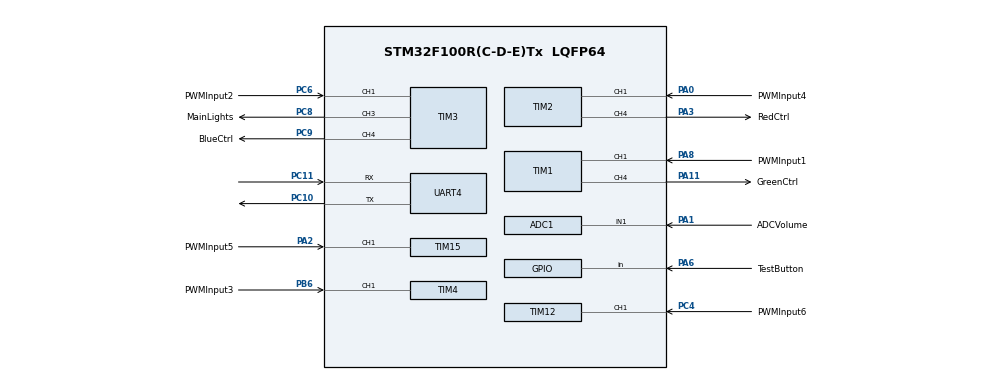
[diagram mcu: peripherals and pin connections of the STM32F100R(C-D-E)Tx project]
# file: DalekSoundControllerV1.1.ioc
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ADC1.Channel-0\#ChannelRegularConversion=ADC_CHANNEL_1
ADC1.NbrOfConversionFlag=1
ADC1.Rank-0\#ChannelRegularConversion=1
ADC1.SamplingTime-0\#ChannelRegularConversion=ADC_SAMPLETIME_1CYCLE_5
ADC1.master=1
Mcu.Family=STM32F1
Mcu.Name=STM32F100R(C-D-E)Tx
Mcu.Package=LQFP64
NVIC.PriorityGroup=NVIC_PRIORITYGROUP_4
NVIC.TIM1_CC_IRQn=true\:0\:0\:false\:false\:true\:true\:true\:true
PA0-WKUP.GPIO_Label=PWMInput4
PA0-WKUP.Signal=S_TIM2_CH1_ETR
PA1.GPIO_Label=ADCVolume
PA1.Signal=ADCx_IN1
PA11.GPIO_Label=GreenCtrl
PA11.Signal=S_TIM1_CH4
PA13.Mode=JTAG_5_pins
PA13.Signal=SYS_JTMS-SWDIO
PA14.Mode=JTAG_5_pins
PA14.Signal=SYS_JTCK-SWCLK
PA15.Mode=JTAG_5_pins
PA15.Signal=SYS_JTDI
PA2.GPIO_Label=PWMInput5
PA2.Signal=S_TIM15_CH1
PA3.GPIO_Label=RedCtrl
PA3.Signal=S_TIM2_CH4
PA6.GPIO_Label=TestButton
PA6.GPIO_PuPd=GPIO_PULLDOWN
PA6.Signal=GPIO_Input
PA8.GPIO_Label=PWMInput1
PA8.Signal=S_TIM1_CH1
PB3.Mode=JTAG_5_pins
PB3.Signal=SYS_JTDO-TRACESWO
PB4.Mode=JTAG_5_pins
PB4.Signal=SYS_NJTRST
PB6.GPIO_Label=PWMInput3
PB6.Signal=S_TIM4_CH1
PC10.Mode=Asynchronous
PC10.Signal=UART4_TX
PC11.Mode=Asynchronous
PC11.Signal=UART4_RX
PC4.GPIO_Label=PWMInput6
PC4.Signal=S_TIM12_CH1
PC6.GPIO_Label=PWMInput2
PC6.Signal=S_TIM3_CH1
PC8.GPIO_Label=MainLights
PC8.Signal=S_TIM3_CH3
PC9.GPIO_Label=BlueCtrl
PC9.Signal=S_TIM3_CH4
ProjectManager.HeapSize=0x200
ProjectManager.StackSize=0x400
ProjectManager.TargetToolchain=STM32CubeIDE
RCC.APB1Freq_Value=8000000
RCC.APB2Freq_Value=8000000
SH.ADCx_IN1.0=ADC1_IN1,IN1
SH.S_TIM12_CH1.0=TIM12_CH1,PWM_Input_1
SH.S_TIM15_CH1.0=TIM15_CH1,PWM_Input_1
SH.S_TIM1_CH1.0=TIM1_CH1,PWM_Input_1
SH.S_TIM1_CH4.0=TIM1_CH4,PWM Generation4 CH4
SH.S_TIM2_CH1_ETR.0=TIM2_CH1,PWM_Input_1
SH.S_TIM2_CH4.0=TIM2_CH4,PWM Generation4 CH4
SH.S_TIM3_CH1.0=TIM3_CH1,PWM_Input_1
SH.S_TIM3_CH3.0=TIM3_CH3,PWM Generation3 CH3
SH.S_TIM3_CH4.0=TIM3_CH4,PWM Generation4 CH4
SH.S_TIM4_CH1.0=TIM4_CH1,PWM_Input_1
TIM1.Channel-PWM\ Generation4\ CH4=TIM_CHANNEL_4
TIM2.Channel-PWM\ Generation4\ CH4=TIM_CHANNEL_4
TIM3.Channel-PWM\ Generation3\ CH3=TIM_CHANNEL_3
TIM3.Channel-PWM\ Generation4\ CH4=TIM_CHANNEL_4
UART4.VirtualMode=Asynchronous
VP_TIM12_VS_ClockSourceINT.Mode=Internal
VP_TIM15_VS_ClockSourceINT.Mode=Internal
VP_TIM1_VS_ClockSourceINT.Mode=Internal
VP_TIM2_VS_ClockSourceINT.Mode=Internal
VP_TIM3_VS_ClockSourceINT.Mode=Internal
VP_TIM4_VS_ClockSourceINT.Mode=Internal
board=custom

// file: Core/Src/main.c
/* USER CODE BEGIN Header */
/**
  ******************************************************************************
  * @file           : main.c
  * @brief          : Main program body
  ******************************************************************************
  * @attention
  *
  * Copyright (c) 2025 STMicroelectronics.
  * All rights reserved.
  *
  * This software is licensed under terms that can be found in the LICENSE file
  * in the root directory of this software component.
  * If no LICENSE file comes with this software, it is provided AS-IS.
  *
  ******************************************************************************
  */
/* USER CODE END Header */
#include "main.h"

/* USER CODE BEGIN Includes */
#include "DFPlayerCommands.h"
/* USER CODE END Includes */

ADC_HandleTypeDef hadc1;

TIM_HandleTypeDef htim1;
TIM_HandleTypeDef htim2;
TIM_HandleTypeDef htim3;
TIM_HandleTypeDef htim4;
TIM_HandleTypeDef htim12;
TIM_HandleTypeDef htim15;

UART_HandleTypeDef huart4;

void SystemClock_Config(void);
static void MX_GPIO_Init(void);
static void MX_ADC1_Init(void);
static void MX_TIM1_Init(void);
static void MX_TIM2_Init(void);
static void MX_TIM4_Init(void);
static void MX_TIM12_Init(void);
static void MX_TIM15_Init(void);
static void MX_UART4_Init(void);
static void MX_TIM3_Init(void);

int main(void)
{

  /* MCU Configuration--------------------------------------------------------*/

  /* Reset of all peripherals, Initializes the Flash interface and the Systick. */
  HAL_Init();

  /* Configure the system clock */
  SystemClock_Config();

  /* Initialize all configured peripherals */
  MX_GPIO_Init();
  MX_ADC1_Init();
  MX_TIM1_Init();
  MX_TIM2_Init();
  MX_TIM4_Init();
  MX_TIM12_Init();
  MX_TIM15_Init();
  MX_UART4_Init();
  MX_TIM3_Init();
  /* USER CODE BEGIN 2 */
  MiniPlayerInit();
  UARTCommand(PlaybackType, 0, 1);

  TIM1->DIER |= TIM_DIER_CC1IE | TIM_DIER_CC2IE;

  int Period;
  int OnTime;

  uint8_t DWSongDutyCycle = 7;

  int DWSongFlag = 1;
  /* USER CODE END 2 */

  /* Infinite loop */
  while (1)
  {

    /* USER CODE BEGIN 3 */
	while(!(TIM1->SR & TIM_SR_CC2IF));
	OnTime = TIM1->CCR2; //Capture Clock Count of On Time

	while(!(TIM1->SR & TIM_SR_CC1IF));
	Period = TIM1->CCR1; //Capture Clock Count of Period

	if(((OnTime * 100 / Period) > DWSongDutyCycle) && (DWSongFlag == 1))
	{
		UARTCommand(PlayTrack, 0, 0);
		UARTCommand(FolderLoop, 0, 1);
		DWSongFlag = 0;
	}
	else if(((OnTime * 100 / Period) > DWSongDutyCycle) && (DWSongFlag == 0));

	else{
		UARTCommand(PauseTrack, 0, 0);
		DWSongFlag = 1;
	}
  }
  /* USER CODE END 3 */
}

void SystemClock_Config(void)
{
  RCC_OscInitTypeDef RCC_OscInitStruct = {0};
  RCC_ClkInitTypeDef RCC_ClkInitStruct = {0};
  RCC_PeriphCLKInitTypeDef PeriphClkInit = {0};

  /** Initializes the RCC Oscillators according to the specified parameters
  * in the RCC_OscInitTypeDef structure.
  */
  RCC_OscInitStruct.OscillatorType = RCC_OSCILLATORTYPE_HSI;
  RCC_OscInitStruct.HSIState = RCC_HSI_ON;
  RCC_OscInitStruct.HSICalibrationValue = RCC_HSICALIBRATION_DEFAULT;
  RCC_OscInitStruct.PLL.PLLState = RCC_PLL_NONE;
  if (HAL_RCC_OscConfig(&RCC_OscInitStruct) != HAL_OK)
  {
    Error_Handler();
  }

  /** Initializes the CPU, AHB and APB buses clocks
  */
  RCC_ClkInitStruct.ClockType = RCC_CLOCKTYPE_HCLK|RCC_CLOCKTYPE_SYSCLK
                              |RCC_CLOCKTYPE_PCLK1|RCC_CLOCKTYPE_PCLK2;
  RCC_ClkInitStruct.SYSCLKSource = RCC_SYSCLKSOURCE_HSI;
  RCC_ClkInitStruct.AHBCLKDivider = RCC_SYSCLK_DIV1;
  RCC_ClkInitStruct.APB1CLKDivider = RCC_HCLK_DIV1;
  RCC_ClkInitStruct.APB2CLKDivider = RCC_HCLK_DIV1;

  if (HAL_RCC_ClockConfig(&RCC_ClkInitStruct, FLASH_LATENCY_0) != HAL_OK)
  {
    Error_Handler();
  }
  PeriphClkInit.PeriphClockSelection = RCC_PERIPHCLK_ADC;
  PeriphClkInit.AdcClockSelection = RCC_ADCPCLK2_DIV2;
  if (HAL_RCCEx_PeriphCLKConfig(&PeriphClkInit) != HAL_OK)
  {
    Error_Handler();
  }
}

static void MX_ADC1_Init(void)
{

  ADC_ChannelConfTypeDef sConfig = {0};

  /** Common config
  */
  hadc1.Instance = ADC1;
  hadc1.Init.ScanConvMode = ADC_SCAN_DISABLE;
  hadc1.Init.ContinuousConvMode = DISABLE;
  hadc1.Init.DiscontinuousConvMode = DISABLE;
  hadc1.Init.ExternalTrigConv = ADC_SOFTWARE_START;
  hadc1.Init.DataAlign = ADC_DATAALIGN_RIGHT;
  hadc1.Init.NbrOfConversion = 1;
  if (HAL_ADC_Init(&hadc1) != HAL_OK)
  {
    Error_Handler();
  }

  /** Configure Regular Channel
  */
  sConfig.Channel = ADC_CHANNEL_1;
  sConfig.Rank = ADC_REGULAR_RANK_1;
  sConfig.SamplingTime = ADC_SAMPLETIME_1CYCLE_5;
  if (HAL_ADC_ConfigChannel(&hadc1, &sConfig) != HAL_OK)
  {
    Error_Handler();
  }

}

static void MX_TIM1_Init(void)
{

  TIM_ClockConfigTypeDef sClockSourceConfig = {0};
  TIM_SlaveConfigTypeDef sSlaveConfig = {0};
  TIM_IC_InitTypeDef sConfigIC = {0};
  TIM_MasterConfigTypeDef sMasterConfig = {0};
  TIM_OC_InitTypeDef sConfigOC = {0};
  TIM_BreakDeadTimeConfigTypeDef sBreakDeadTimeConfig = {0};

  htim1.Instance = TIM1;
  htim1.Init.Prescaler = 0;
  htim1.Init.CounterMode = TIM_COUNTERMODE_UP;
  htim1.Init.Period = 65535;
  htim1.Init.ClockDivision = TIM_CLOCKDIVISION_DIV1;
  htim1.Init.RepetitionCounter = 0;
  htim1.Init.AutoReloadPreload = TIM_AUTORELOAD_PRELOAD_DISABLE;
  if (HAL_TIM_Base_Init(&htim1) != HAL_OK)
  {
    Error_Handler();
  }
  sClockSourceConfig.ClockSource = TIM_CLOCKSOURCE_INTERNAL;
  if (HAL_TIM_ConfigClockSource(&htim1, &sClockSourceConfig) != HAL_OK)
  {
    Error_Handler();
  }
  if (HAL_TIM_PWM_Init(&htim1) != HAL_OK)
  {
    Error_Handler();
  }
  if (HAL_TIM_IC_Init(&htim1) != HAL_OK)
  {
    Error_Handler();
  }
  sSlaveConfig.SlaveMode = TIM_SLAVEMODE_RESET;
  sSlaveConfig.InputTrigger = TIM_TS_TI1FP1;
  sSlaveConfig.TriggerPolarity = TIM_INPUTCHANNELPOLARITY_RISING;
  sSlaveConfig.TriggerPrescaler = TIM_ICPSC_DIV1;
  sSlaveConfig.TriggerFilter = 0;
  if (HAL_TIM_SlaveConfigSynchro(&htim1, &sSlaveConfig) != HAL_OK)
  {
    Error_Handler();
  }
  sConfigIC.ICPolarity = TIM_INPUTCHANNELPOLARITY_RISING;
  sConfigIC.ICSelection = TIM_ICSELECTION_DIRECTTI;
  sConfigIC.ICPrescaler = TIM_ICPSC_DIV1;
  sConfigIC.ICFilter = 0;
  if (HAL_TIM_IC_ConfigChannel(&htim1, &sConfigIC, TIM_CHANNEL_1) != HAL_OK)
  {
    Error_Handler();
  }
  sConfigIC.ICPolarity = TIM_INPUTCHANNELPOLARITY_FALLING;
  sConfigIC.ICSelection = TIM_ICSELECTION_INDIRECTTI;
  if (HAL_TIM_IC_ConfigChannel(&htim1, &sConfigIC, TIM_CHANNEL_2) != HAL_OK)
  {
    Error_Handler();
  }
  sMasterConfig.MasterOutputTrigger = TIM_TRGO_RESET;
  sMasterConfig.MasterSlaveMode = TIM_MASTERSLAVEMODE_DISABLE;
  if (HAL_TIMEx_MasterConfigSynchronization(&htim1, &sMasterConfig) != HAL_OK)
  {
    Error_Handler();
  }
  sConfigOC.OCMode = TIM_OCMODE_PWM1;
  sConfigOC.Pulse = 0;
  sConfigOC.OCPolarity = TIM_OCPOLARITY_HIGH;
  sConfigOC.OCFastMode = TIM_OCFAST_DISABLE;
  sConfigOC.OCIdleState = TIM_OCIDLESTATE_RESET;
  sConfigOC.OCNIdleState = TIM_OCNIDLESTATE_RESET;
  if (HAL_TIM_PWM_ConfigChannel(&htim1, &sConfigOC, TIM_CHANNEL_4) != HAL_OK)
  {
    Error_Handler();
  }
  sBreakDeadTimeConfig.OffStateRunMode = TIM_OSSR_DISABLE;
  sBreakDeadTimeConfig.OffStateIDLEMode = TIM_OSSI_DISABLE;
  sBreakDeadTimeConfig.LockLevel = TIM_LOCKLEVEL_OFF;
  sBreakDeadTimeConfig.DeadTime = 0;
  sBreakDeadTimeConfig.BreakState = TIM_BREAK_DISABLE;
  sBreakDeadTimeConfig.BreakPolarity = TIM_BREAKPOLARITY_HIGH;
  sBreakDeadTimeConfig.AutomaticOutput = TIM_AUTOMATICOUTPUT_DISABLE;
  if (HAL_TIMEx_ConfigBreakDeadTime(&htim1, &sBreakDeadTimeConfig) != HAL_OK)
  {
    Error_Handler();
  }
  HAL_TIM_MspPostInit(&htim1);

}

static void MX_TIM2_Init(void)
{

  TIM_ClockConfigTypeDef sClockSourceConfig = {0};
  TIM_SlaveConfigTypeDef sSlaveConfig = {0};
  TIM_IC_InitTypeDef sConfigIC = {0};
  TIM_MasterConfigTypeDef sMasterConfig = {0};
  TIM_OC_InitTypeDef sConfigOC = {0};

  htim2.Instance = TIM2;
  htim2.Init.Prescaler = 0;
  htim2.Init.CounterMode = TIM_COUNTERMODE_UP;
  htim2.Init.Period = 65535;
  htim2.Init.ClockDivision = TIM_CLOCKDIVISION_DIV1;
  htim2.Init.AutoReloadPreload = TIM_AUTORELOAD_PRELOAD_DISABLE;
  if (HAL_TIM_Base_Init(&htim2) != HAL_OK)
  {
    Error_Handler();
  }
  sClockSourceConfig.ClockSource = TIM_CLOCKSOURCE_INTERNAL;
  if (HAL_TIM_ConfigClockSource(&htim2, &sClockSourceConfig) != HAL_OK)
  {
    Error_Handler();
  }
  if (HAL_TIM_PWM_Init(&htim2) != HAL_OK)
  {
    Error_Handler();
  }
  if (HAL_TIM_IC_Init(&htim2) != HAL_OK)
  {
    Error_Handler();
  }
  sSlaveConfig.SlaveMode = TIM_SLAVEMODE_RESET;
  sSlaveConfig.InputTrigger = TIM_TS_TI1FP1;
  sSlaveConfig.TriggerPolarity = TIM_INPUTCHANNELPOLARITY_RISING;
  sSlaveConfig.TriggerPrescaler = TIM_ICPSC_DIV1;
  sSlaveConfig.TriggerFilter = 0;
  if (HAL_TIM_SlaveConfigSynchro(&htim2, &sSlaveConfig) != HAL_OK)
  {
    Error_Handler();
  }
  sConfigIC.ICPolarity = TIM_INPUTCHANNELPOLARITY_RISING;
  sConfigIC.ICSelection = TIM_ICSELECTION_DIRECTTI;
  sConfigIC.ICPrescaler = TIM_ICPSC_DIV1;
  sConfigIC.ICFilter = 0;
  if (HAL_TIM_IC_ConfigChannel(&htim2, &sConfigIC, TIM_CHANNEL_1) != HAL_OK)
  {
    Error_Handler();
  }
  sConfigIC.ICPolarity = TIM_INPUTCHANNELPOLARITY_FALLING;
  sConfigIC.ICSelection = TIM_ICSELECTION_INDIRECTTI;
  if (HAL_TIM_IC_ConfigChannel(&htim2, &sConfigIC, TIM_CHANNEL_2) != HAL_OK)
  {
    Error_Handler();
  }
  sMasterConfig.MasterOutputTrigger = TIM_TRGO_RESET;
  sMasterConfig.MasterSlaveMode = TIM_MASTERSLAVEMODE_DISABLE;
  if (HAL_TIMEx_MasterConfigSynchronization(&htim2, &sMasterConfig) != HAL_OK)
  {
    Error_Handler();
  }
  sConfigOC.OCMode = TIM_OCMODE_PWM1;
  sConfigOC.Pulse = 0;
  sConfigOC.OCPolarity = TIM_OCPOLARITY_HIGH;
  sConfigOC.OCFastMode = TIM_OCFAST_DISABLE;
  if (HAL_TIM_PWM_ConfigChannel(&htim2, &sConfigOC, TIM_CHANNEL_4) != HAL_OK)
  {
    Error_Handler();
  }
  HAL_TIM_MspPostInit(&htim2);

}

static void MX_TIM3_Init(void)
{

  TIM_ClockConfigTypeDef sClockSourceConfig = {0};
  TIM_SlaveConfigTypeDef sSlaveConfig = {0};
  TIM_IC_InitTypeDef sConfigIC = {0};
  TIM_MasterConfigTypeDef sMasterConfig = {0};
  TIM_OC_InitTypeDef sConfigOC = {0};

  htim3.Instance = TIM3;
  htim3.Init.Prescaler = 0;
  htim3.Init.CounterMode = TIM_COUNTERMODE_UP;
  htim3.Init.Period = 65535;
  htim3.Init.ClockDivision = TIM_CLOCKDIVISION_DIV1;
  htim3.Init.AutoReloadPreload = TIM_AUTORELOAD_PRELOAD_DISABLE;
  if (HAL_TIM_Base_Init(&htim3) != HAL_OK)
  {
    Error_Handler();
  }
  sClockSourceConfig.ClockSource = TIM_CLOCKSOURCE_INTERNAL;
  if (HAL_TIM_ConfigClockSource(&htim3, &sClockSourceConfig) != HAL_OK)
  {
    Error_Handler();
  }
  if (HAL_TIM_PWM_Init(&htim3) != HAL_OK)
  {
    Error_Handler();
  }
  if (HAL_TIM_IC_Init(&htim3) != HAL_OK)
  {
    Error_Handler();
  }
  sSlaveConfig.SlaveMode = TIM_SLAVEMODE_RESET;
  sSlaveConfig.InputTrigger = TIM_TS_TI1FP1;
  sSlaveConfig.TriggerPolarity = TIM_INPUTCHANNELPOLARITY_RISING;
  sSlaveConfig.TriggerPrescaler = TIM_ICPSC_DIV1;
  sSlaveConfig.TriggerFilter = 0;
  if (HAL_TIM_SlaveConfigSynchro(&htim3, &sSlaveConfig) != HAL_OK)
  {
    Error_Handler();
  }
  sConfigIC.ICPolarity = TIM_INPUTCHANNELPOLARITY_RISING;
  sConfigIC.ICSelection = TIM_ICSELECTION_DIRECTTI;
  sConfigIC.ICPrescaler = TIM_ICPSC_DIV1;
  sConfigIC.ICFilter = 0;
  if (HAL_TIM_IC_ConfigChannel(&htim3, &sConfigIC, TIM_CHANNEL_1) != HAL_OK)
  {
    Error_Handler();
  }
  sConfigIC.ICPolarity = TIM_INPUTCHANNELPOLARITY_FALLING;
  sConfigIC.ICSelection = TIM_ICSELECTION_INDIRECTTI;
  if (HAL_TIM_IC_ConfigChannel(&htim3, &sConfigIC, TIM_CHANNEL_2) != HAL_OK)
  {
    Error_Handler();
  }
  sMasterConfig.MasterOutputTrigger = TIM_TRGO_RESET;
  sMasterConfig.MasterSlaveMode = TIM_MASTERSLAVEMODE_DISABLE;
  if (HAL_TIMEx_MasterConfigSynchronization(&htim3, &sMasterConfig) != HAL_OK)
  {
    Error_Handler();
  }
  sConfigOC.OCMode = TIM_OCMODE_PWM1;
  sConfigOC.Pulse = 0;
  sConfigOC.OCPolarity = TIM_OCPOLARITY_HIGH;
  sConfigOC.OCFastMode = TIM_OCFAST_DISABLE;
  if (HAL_TIM_PWM_ConfigChannel(&htim3, &sConfigOC, TIM_CHANNEL_3) != HAL_OK)
  {
    Error_Handler();
  }
  if (HAL_TIM_PWM_ConfigChannel(&htim3, &sConfigOC, TIM_CHANNEL_4) != HAL_OK)
  {
    Error_Handler();
  }
  HAL_TIM_MspPostInit(&htim3);

}

static void MX_TIM4_Init(void)
{

  TIM_ClockConfigTypeDef sClockSourceConfig = {0};
  TIM_SlaveConfigTypeDef sSlaveConfig = {0};
  TIM_IC_InitTypeDef sConfigIC = {0};
  TIM_MasterConfigTypeDef sMasterConfig = {0};

  htim4.Instance = TIM4;
  htim4.Init.Prescaler = 0;
  htim4.Init.CounterMode = TIM_COUNTERMODE_UP;
  htim4.Init.Period = 65535;
  htim4.Init.ClockDivision = TIM_CLOCKDIVISION_DIV1;
  htim4.Init.AutoReloadPreload = TIM_AUTORELOAD_PRELOAD_DISABLE;
  if (HAL_TIM_Base_Init(&htim4) != HAL_OK)
  {
    Error_Handler();
  }
  sClockSourceConfig.ClockSource = TIM_CLOCKSOURCE_INTERNAL;
  if (HAL_TIM_ConfigClockSource(&htim4, &sClockSourceConfig) != HAL_OK)
  {
    Error_Handler();
  }
  if (HAL_TIM_IC_Init(&htim4) != HAL_OK)
  {
    Error_Handler();
  }
  sSlaveConfig.SlaveMode = TIM_SLAVEMODE_RESET;
  sSlaveConfig.InputTrigger = TIM_TS_TI1FP1;
  sSlaveConfig.TriggerPolarity = TIM_INPUTCHANNELPOLARITY_RISING;
  sSlaveConfig.TriggerPrescaler = TIM_ICPSC_DIV1;
  sSlaveConfig.TriggerFilter = 0;
  if (HAL_TIM_SlaveConfigSynchro(&htim4, &sSlaveConfig) != HAL_OK)
  {
    Error_Handler();
  }
  sConfigIC.ICPolarity = TIM_INPUTCHANNELPOLARITY_RISING;
  sConfigIC.ICSelection = TIM_ICSELECTION_DIRECTTI;
  sConfigIC.ICPrescaler = TIM_ICPSC_DIV1;
  sConfigIC.ICFilter = 0;
  if (HAL_TIM_IC_ConfigChannel(&htim4, &sConfigIC, TIM_CHANNEL_1) != HAL_OK)
  {
    Error_Handler();
  }
  sConfigIC.ICPolarity = TIM_INPUTCHANNELPOLARITY_FALLING;
  sConfigIC.ICSelection = TIM_ICSELECTION_INDIRECTTI;
  if (HAL_TIM_IC_ConfigChannel(&htim4, &sConfigIC, TIM_CHANNEL_2) != HAL_OK)
  {
    Error_Handler();
  }
  sMasterConfig.MasterOutputTrigger = TIM_TRGO_RESET;
  sMasterConfig.MasterSlaveMode = TIM_MASTERSLAVEMODE_DISABLE;
  if (HAL_TIMEx_MasterConfigSynchronization(&htim4, &sMasterConfig) != HAL_OK)
  {
    Error_Handler();
  }

}

static void MX_TIM12_Init(void)
{

  TIM_ClockConfigTypeDef sClockSourceConfig = {0};
  TIM_SlaveConfigTypeDef sSlaveConfig = {0};
  TIM_IC_InitTypeDef sConfigIC = {0};

  htim12.Instance = TIM12;
  htim12.Init.Prescaler = 0;
  htim12.Init.CounterMode = TIM_COUNTERMODE_UP;
  htim12.Init.Period = 65535;
  htim12.Init.ClockDivision = TIM_CLOCKDIVISION_DIV1;
  htim12.Init.AutoReloadPreload = TIM_AUTORELOAD_PRELOAD_DISABLE;
  if (HAL_TIM_Base_Init(&htim12) != HAL_OK)
  {
    Error_Handler();
  }
  sClockSourceConfig.ClockSource = TIM_CLOCKSOURCE_INTERNAL;
  if (HAL_TIM_ConfigClockSource(&htim12, &sClockSourceConfig) != HAL_OK)
  {
    Error_Handler();
  }
  if (HAL_TIM_IC_Init(&htim12) != HAL_OK)
  {
    Error_Handler();
  }
  sSlaveConfig.SlaveMode = TIM_SLAVEMODE_RESET;
  sSlaveConfig.InputTrigger = TIM_TS_TI1FP1;
  sSlaveConfig.TriggerPolarity = TIM_INPUTCHANNELPOLARITY_RISING;
  sSlaveConfig.TriggerPrescaler = TIM_ICPSC_DIV1;
  sSlaveConfig.TriggerFilter = 0;
  if (HAL_TIM_SlaveConfigSynchro(&htim12, &sSlaveConfig) != HAL_OK)
  {
    Error_Handler();
  }
  sConfigIC.ICPolarity = TIM_INPUTCHANNELPOLARITY_RISING;
  sConfigIC.ICSelection = TIM_ICSELECTION_DIRECTTI;
  sConfigIC.ICPrescaler = TIM_ICPSC_DIV1;
  sConfigIC.ICFilter = 0;
  if (HAL_TIM_IC_ConfigChannel(&htim12, &sConfigIC, TIM_CHANNEL_1) != HAL_OK)
  {
    Error_Handler();
  }
  sConfigIC.ICPolarity = TIM_INPUTCHANNELPOLARITY_FALLING;
  sConfigIC.ICSelection = TIM_ICSELECTION_INDIRECTTI;
  if (HAL_TIM_IC_ConfigChannel(&htim12, &sConfigIC, TIM_CHANNEL_2) != HAL_OK)
  {
    Error_Handler();
  }

}

static void MX_TIM15_Init(void)
{

  TIM_ClockConfigTypeDef sClockSourceConfig = {0};
  TIM_SlaveConfigTypeDef sSlaveConfig = {0};
  TIM_IC_InitTypeDef sConfigIC = {0};
  TIM_MasterConfigTypeDef sMasterConfig = {0};

  htim15.Instance = TIM15;
  htim15.Init.Prescaler = 0;
  htim15.Init.CounterMode = TIM_COUNTERMODE_UP;
  htim15.Init.Period = 65535;
  htim15.Init.ClockDivision = TIM_CLOCKDIVISION_DIV1;
  htim15.Init.RepetitionCounter = 0;
  htim15.Init.AutoReloadPreload = TIM_AUTORELOAD_PRELOAD_DISABLE;
  if (HAL_TIM_Base_Init(&htim15) != HAL_OK)
  {
    Error_Handler();
  }
  sClockSourceConfig.ClockSource = TIM_CLOCKSOURCE_INTERNAL;
  if (HAL_TIM_ConfigClockSource(&htim15, &sClockSourceConfig) != HAL_OK)
  {
    Error_Handler();
  }
  if (HAL_TIM_IC_Init(&htim15) != HAL_OK)
  {
    Error_Handler();
  }
  sSlaveConfig.SlaveMode = TIM_SLAVEMODE_RESET;
  sSlaveConfig.InputTrigger = TIM_TS_TI1FP1;
  sSlaveConfig.TriggerPolarity = TIM_INPUTCHANNELPOLARITY_RISING;
  sSlaveConfig.TriggerPrescaler = TIM_ICPSC_DIV1;
  sSlaveConfig.TriggerFilter = 0;
  if (HAL_TIM_SlaveConfigSynchro(&htim15, &sSlaveConfig) != HAL_OK)
  {
    Error_Handler();
  }
  sConfigIC.ICPolarity = TIM_INPUTCHANNELPOLARITY_RISING;
  sConfigIC.ICSelection = TIM_ICSELECTION_DIRECTTI;
  sConfigIC.ICPrescaler = TIM_ICPSC_DIV1;
  sConfigIC.ICFilter = 0;
  if (HAL_TIM_IC_ConfigChannel(&htim15, &sConfigIC, TIM_CHANNEL_1) != HAL_OK)
  {
    Error_Handler();
  }
  sConfigIC.ICPolarity = TIM_INPUTCHANNELPOLARITY_FALLING;
  sConfigIC.ICSelection = TIM_ICSELECTION_INDIRECTTI;
  if (HAL_TIM_IC_ConfigChannel(&htim15, &sConfigIC, TIM_CHANNEL_2) != HAL_OK)
  {
    Error_Handler();
  }
  sMasterConfig.MasterOutputTrigger = TIM_TRGO_RESET;
  sMasterConfig.MasterSlaveMode = TIM_MASTERSLAVEMODE_DISABLE;
  if (HAL_TIMEx_MasterConfigSynchronization(&htim15, &sMasterConfig) != HAL_OK)
  {
    Error_Handler();
  }

}

static void MX_UART4_Init(void)
{

  huart4.Instance = UART4;
  huart4.Init.BaudRate = 115200;
  huart4.Init.WordLength = UART_WORDLENGTH_8B;
  huart4.Init.StopBits = UART_STOPBITS_1;
  huart4.Init.Parity = UART_PARITY_NONE;
  huart4.Init.Mode = UART_MODE_TX_RX;
  huart4.Init.HwFlowCtl = UART_HWCONTROL_NONE;
  huart4.Init.OverSampling = UART_OVERSAMPLING_16;
  if (HAL_UART_Init(&huart4) != HAL_OK)
  {
    Error_Handler();
  }

}

static void MX_GPIO_Init(void)
{
  GPIO_InitTypeDef GPIO_InitStruct = {0};

  /* GPIO Ports Clock Enable */
  __HAL_RCC_GPIOA_CLK_ENABLE();
  __HAL_RCC_GPIOC_CLK_ENABLE();
  __HAL_RCC_GPIOB_CLK_ENABLE();

  /*Configure GPIO pin : TestButton_Pin */
  GPIO_InitStruct.Pin = TestButton_Pin;
  GPIO_InitStruct.Mode = GPIO_MODE_INPUT;
  GPIO_InitStruct.Pull = GPIO_PULLDOWN;
  HAL_GPIO_Init(TestButton_GPIO_Port, &GPIO_InitStruct);

}

void Error_Handler(void)
{
  __disable_irq();
  while (1)
  {
  }
}
